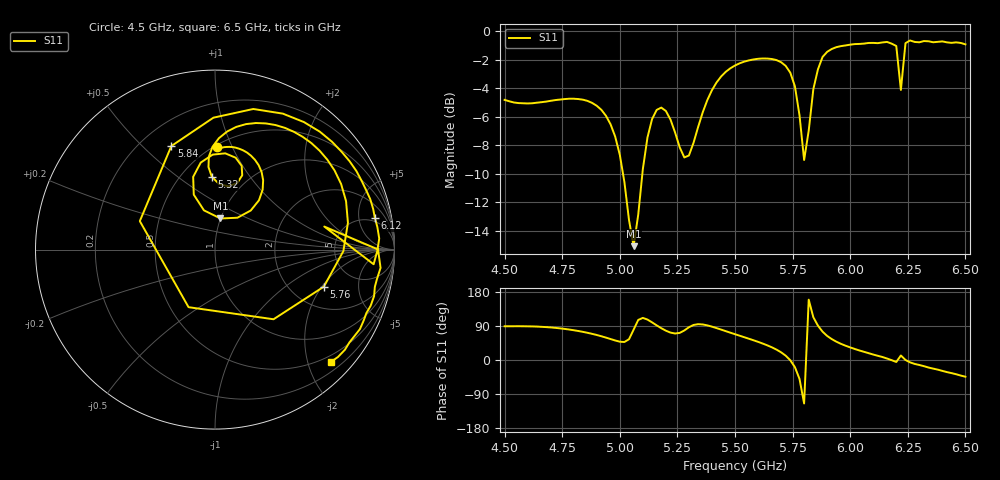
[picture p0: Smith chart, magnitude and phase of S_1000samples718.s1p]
! TOUCHSTONE file generated by CST MICROWAVE STUDIO
! Date and time: Sat Oct 29 03:34:34 2022
! Project name: L.cst
! Parameters = {Di=1.27; Epsilon_r=1.56; InnerDiameter=1.27; Length=2; Lf=10; Lg=60; OuterConductorThickness=0.2921; OuterDiameter=3.6; Wf=3; Wp=41.2; de=1.5; df=6.8; g=0.8; gx=0.897606; gy=3.68685; h=2.34; hf=1.524; px=13.5257; py=13.1163; w=9.7; wx=12.6281; wy=9.4294}
! Header version: 2018
! Port assignment regex: !\s*Touchstone port\s*([0-9]+)\s*=\s*(CST MWS port|CST DS port)\s*([0-9]+|Zmin|Zmax)\s*\(\"(.*)\"\)(\s*mode\s*([0-9]+))?.*
! Touchstone port assignment:
! Touchstone port 1 = CST MWS port 1 ("")
# GHz S DB R 50
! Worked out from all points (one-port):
!   101 points, 4.5 GHz to 6.5 GHz, reference 50 ohm
!   lowest |S11| = -15.1 dB at 5.06 GHz (marker M1), VSWR 1.43, Z = 49.9 + j17.9 ohm
!   |S11| at or under -10 dB: 5.014 GHz to 5.098 GHz (84.22 MHz wide, 1.67 % of centre)
!   S11 on the Smith chart (normalised r, x): 4.5 GHz: 0.51, +0.88; 5.32 GHz: 0.70, +0.68; 5.76 GHz: 2.99, -2.09; 5.84 GHz: 0.32, +0.61; 6.12 GHz: 4.13, +8.24; 6.5 GHz: 0.37, -2.42
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4.5  -4.82 89.1
4.76  -4.77 82.1
4.9  -5.23 66.0
5  -8.68 48.3
5.06  -15.09 80.1
5.1  -9.68 111.1
5.14  -6.17 99.3
5.2  -5.60 77.3
5.26  -8.15 71.5
5.32  -7.83 92.5
5.38  -4.83 91.4
5.5  -2.41 68.1
5.66  -1.95 33.5
5.72  -2.43 11.4
5.76  -3.87 -18.8
5.78  -5.90 -50.0
5.8  -9.04 -114.7
5.82  -6.98 159.2
5.84  -4.07 112.9
5.86  -2.67 90.7
5.9  -1.45 63.5
6  -0.94 33.2
6.12  -0.84 11.1
6.2  -1.04 -5.3
6.22  -4.12 11.9
6.24  -0.84 0.1
6.26  -0.65 -6.3
6.5  -0.92 -44.1
